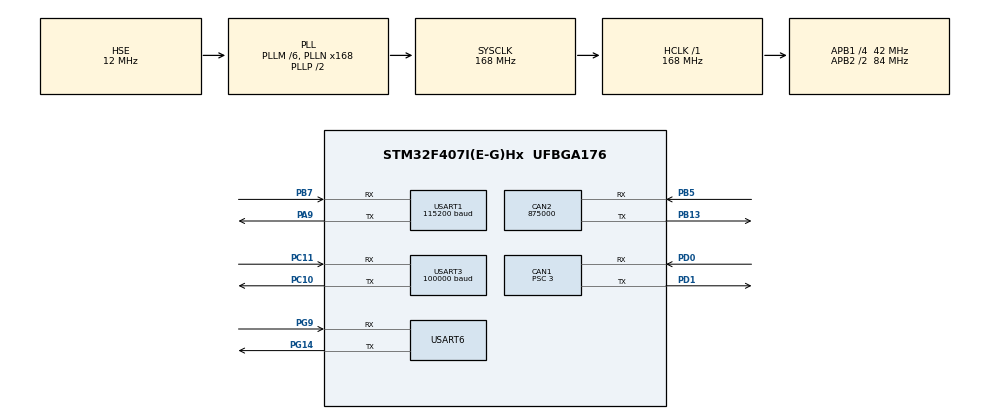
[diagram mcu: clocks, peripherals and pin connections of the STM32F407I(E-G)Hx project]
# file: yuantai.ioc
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CAN1.BS1=CAN_BS1_9TQ
CAN1.BS2=CAN_BS2_4TQ
CAN1.CalculateBaudRate=1000000
CAN1.CalculateTimeBit=1000
CAN1.CalculateTimeQuantum=71.42857142857143
CAN1.Prescaler=3
CAN2.CalculateBaudRate=875000
CAN2.CalculateTimeBit=1142
CAN2.CalculateTimeQuantum=380.95238095238096
Dma.Request0=USART3_RX
Dma.Request1=USART6_RX
Dma.Request2=USART3_TX
Dma.Request3=USART1_RX
Dma.Request4=USART1_TX
Dma.Request5=USART6_TX
Dma.USART1_RX.3.Direction=DMA_PERIPH_TO_MEMORY
Dma.USART1_RX.3.FIFOMode=DMA_FIFOMODE_DISABLE
Dma.USART1_RX.3.Instance=DMA2_Stream2
Dma.USART1_RX.3.MemDataAlignment=DMA_MDATAALIGN_BYTE
Dma.USART1_RX.3.MemInc=DMA_MINC_ENABLE
Dma.USART1_RX.3.Mode=DMA_NORMAL
Dma.USART1_RX.3.PeriphDataAlignment=DMA_PDATAALIGN_BYTE
Dma.USART1_RX.3.PeriphInc=DMA_PINC_DISABLE
Dma.USART1_RX.3.Priority=DMA_PRIORITY_LOW
Dma.USART1_TX.4.Direction=DMA_MEMORY_TO_PERIPH
Dma.USART1_TX.4.FIFOMode=DMA_FIFOMODE_DISABLE
Dma.USART1_TX.4.Instance=DMA2_Stream7
Dma.USART1_TX.4.MemDataAlignment=DMA_MDATAALIGN_BYTE
Dma.USART1_TX.4.MemInc=DMA_MINC_ENABLE
Dma.USART1_TX.4.Mode=DMA_NORMAL
Dma.USART1_TX.4.PeriphDataAlignment=DMA_PDATAALIGN_BYTE
Dma.USART1_TX.4.PeriphInc=DMA_PINC_DISABLE
Dma.USART1_TX.4.Priority=DMA_PRIORITY_LOW
Dma.USART3_RX.0.Direction=DMA_PERIPH_TO_MEMORY
Dma.USART3_RX.0.FIFOMode=DMA_FIFOMODE_DISABLE
Dma.USART3_RX.0.Instance=DMA1_Stream1
Dma.USART3_RX.0.MemDataAlignment=DMA_MDATAALIGN_BYTE
Dma.USART3_RX.0.MemInc=DMA_MINC_ENABLE
Dma.USART3_RX.0.Mode=DMA_NORMAL
Dma.USART3_RX.0.PeriphDataAlignment=DMA_PDATAALIGN_BYTE
Dma.USART3_RX.0.PeriphInc=DMA_PINC_DISABLE
Dma.USART3_RX.0.Priority=DMA_PRIORITY_LOW
Dma.USART3_TX.2.Direction=DMA_MEMORY_TO_PERIPH
Dma.USART3_TX.2.FIFOMode=DMA_FIFOMODE_DISABLE
Dma.USART3_TX.2.Instance=DMA1_Stream3
Dma.USART3_TX.2.MemDataAlignment=DMA_MDATAALIGN_BYTE
Dma.USART3_TX.2.MemInc=DMA_MINC_ENABLE
Dma.USART3_TX.2.Mode=DMA_NORMAL
Dma.USART3_TX.2.PeriphDataAlignment=DMA_PDATAALIGN_BYTE
Dma.USART3_TX.2.PeriphInc=DMA_PINC_DISABLE
Dma.USART3_TX.2.Priority=DMA_PRIORITY_LOW
Dma.USART6_RX.1.Direction=DMA_PERIPH_TO_MEMORY
Dma.USART6_RX.1.FIFOMode=DMA_FIFOMODE_DISABLE
Dma.USART6_RX.1.Instance=DMA2_Stream1
Dma.USART6_RX.1.MemDataAlignment=DMA_MDATAALIGN_BYTE
Dma.USART6_RX.1.MemInc=DMA_MINC_ENABLE
Dma.USART6_RX.1.Mode=DMA_NORMAL
Dma.USART6_RX.1.PeriphDataAlignment=DMA_PDATAALIGN_BYTE
Dma.USART6_RX.1.PeriphInc=DMA_PINC_DISABLE
Dma.USART6_RX.1.Priority=DMA_PRIORITY_LOW
Dma.USART6_TX.5.Direction=DMA_MEMORY_TO_PERIPH
Dma.USART6_TX.5.FIFOMode=DMA_FIFOMODE_DISABLE
Dma.USART6_TX.5.Instance=DMA2_Stream6
Dma.USART6_TX.5.MemDataAlignment=DMA_MDATAALIGN_BYTE
Dma.USART6_TX.5.MemInc=DMA_MINC_ENABLE
Dma.USART6_TX.5.Mode=DMA_NORMAL
Dma.USART6_TX.5.PeriphDataAlignment=DMA_PDATAALIGN_BYTE
Dma.USART6_TX.5.PeriphInc=DMA_PINC_DISABLE
Dma.USART6_TX.5.Priority=DMA_PRIORITY_LOW
FREERTOS.Tasks01=defaultTask,0,128,StartDefaultTask,Default,NULL,Dynamic,NULL,NULL
Mcu.Family=STM32F4
Mcu.Name=STM32F407I(E-G)Hx
Mcu.Package=UFBGA176
NVIC.CAN1_RX0_IRQn=true\:5\:0\:false\:false\:true\:true\:true\:true\:true
NVIC.CAN1_RX1_IRQn=true\:5\:0\:false\:false\:true\:true\:true\:true\:true
NVIC.CAN1_SCE_IRQn=true\:5\:0\:false\:false\:true\:true\:true\:true\:true
NVIC.DMA1_Stream1_IRQn=true\:5\:0\:false\:false\:true\:true\:false\:true\:true
NVIC.DMA1_Stream3_IRQn=true\:5\:0\:false\:false\:true\:true\:false\:true\:true
NVIC.DMA2_Stream1_IRQn=true\:5\:0\:false\:false\:true\:true\:false\:true\:true
NVIC.DMA2_Stream2_IRQn=true\:5\:0\:false\:false\:true\:true\:false\:true\:true
NVIC.DMA2_Stream6_IRQn=true\:5\:0\:false\:false\:true\:true\:false\:true\:true
NVIC.DMA2_Stream7_IRQn=true\:5\:0\:false\:false\:true\:true\:false\:true\:true
NVIC.PriorityGroup=NVIC_PRIORITYGROUP_4
NVIC.TIM3_IRQn=true\:5\:0\:false\:false\:true\:true\:true\:true\:true
NVIC.USART1_IRQn=true\:5\:0\:false\:false\:true\:true\:true\:true\:true
NVIC.USART3_IRQn=true\:5\:0\:false\:false\:true\:true\:true\:true\:true
NVIC.USART6_IRQn=true\:5\:0\:false\:false\:true\:true\:true\:true\:true
PA13.Mode=Serial_Wire
PA13.Signal=SYS_JTMS-SWDIO
PA14.Mode=Serial_Wire
PA14.Signal=SYS_JTCK-SWCLK
PA9.Mode=Asynchronous
PA9.Signal=USART1_TX
PB13.Mode=CAN_Activate
PB13.Signal=CAN2_TX
PB5.Mode=CAN_Activate
PB5.Signal=CAN2_RX
PB7.Mode=Asynchronous
PB7.Signal=USART1_RX
PC10.Mode=Asynchronous
PC10.Signal=USART3_TX
PC11.Mode=Asynchronous
PC11.Signal=USART3_RX
PD0.Mode=CAN_Activate
PD0.Signal=CAN1_RX
PD1.Mode=CAN_Activate
PD1.Signal=CAN1_TX
PG14.Mode=Asynchronous
PG14.Signal=USART6_TX
PG9.Mode=Asynchronous
PG9.Signal=USART6_RX
PH0-OSC_IN.Mode=HSE-External-Oscillator
PH0-OSC_IN.Signal=RCC_OSC_IN
PH1-OSC_OUT.Mode=HSE-External-Oscillator
PH1-OSC_OUT.Signal=RCC_OSC_OUT
ProjectManager.HeapSize=0x200
ProjectManager.StackSize=0x400
ProjectManager.TargetToolchain=MDK-ARM V5.32
RCC.48MHZClocksFreq_Value=84000000
RCC.AHBFreq_Value=168000000
RCC.APB1CLKDivider=RCC_HCLK_DIV4
RCC.APB1Freq_Value=42000000
RCC.APB1TimFreq_Value=84000000
RCC.APB2CLKDivider=RCC_HCLK_DIV2
RCC.APB2Freq_Value=84000000
RCC.APB2TimFreq_Value=168000000
RCC.CortexFreq_Value=168000000
RCC.HCLKFreq_Value=168000000
RCC.HSE_VALUE=12000000
RCC.HSI_VALUE=16000000
RCC.LSE_VALUE=32768
RCC.PLLM=6
RCC.PLLN=168
RCC.PLLSourceVirtual=RCC_PLLSOURCE_HSE
RCC.SYSCLKFreq_VALUE=168000000
RCC.SYSCLKSource=RCC_SYSCLKSOURCE_PLLCLK
RCC.VCOOutputFreq_Value=336000000
TIM3.Period=10-1
TIM3.Prescaler=8400-1
USART1.BaudRate=115200
USART1.Parity=PARITY_NONE
USART1.VirtualMode=VM_ASYNC
USART1.WordLength=WORDLENGTH_8B
USART3.BaudRate=100000
USART3.Parity=PARITY_EVEN
USART3.VirtualMode=VM_ASYNC
USART3.WordLength=WORDLENGTH_9B
USART6.VirtualMode=VM_ASYNC
VP_FREERTOS_VS_CMSIS_V1.Mode=CMSIS_V1
VP_TIM3_VS_ClockSourceINT.Mode=Internal
VP_TIM4_VS_ClockSourceINT.Mode=Internal
board=custom

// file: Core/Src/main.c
/* USER CODE BEGIN Header */
/**
  ******************************************************************************
  * @file           : main.c
  * @brief          : Main program body
  ******************************************************************************
  * @attention
  *
  * Copyright (c) 2026 STMicroelectronics.
  * All rights reserved.
  *
  * This software is licensed under terms that can be found in the LICENSE file
  * in the root directory of this software component.
  * If no LICENSE file comes with this software, it is provided AS-IS.
  *
  ******************************************************************************
  */
/* USER CODE END Header */
#include "main.h"
#include "cmsis_os.h"
#include "can.h"
#include "dma.h"
#include "tim.h"
#include "usart.h"
#include "gpio.h"

/* USER CODE BEGIN Includes */
#include "BSP/Motor/Dji/DjiMotor.hpp"
#include "Alg/PID/pid.hpp"
#include "../core/BSP/RemoteControl/yaokongqi.h"
#include "math.h"
#include "/BSP/IMU/HI12_imu.hpp"
/* USER CODE END Includes */

void SystemClock_Config(void);
//void MX_FREERTOS_Init(void);
/* USER CODE BEGIN PFP */
//BSP::Motor::DjiMotor::GM6020<2> gimbal_motor;
//BSP::Motor::DjiMotor<2> gimbal_motor;
// GM6020 反馈ID = 0x204 + 拨码值，拨码1→0x205，拨码2→0x206
BSP::Motor::Dji::GM6020<2> gimbal_motor{0x204, {1, 2}, 0x1FF};
BSP::IMU::HI12_float imu;
ALG::PID::PID pos_pid[2]={
	{30.0f, 0.03f, 0.0f, 5000.0f, 1000.0f, 100.0f},
	//43.0f, 0.03f, 0.005f, 5000.0f, 1000.0f, 100.0f
  {40.0f, 0.015f, 0.0f, 5000.0f, 1000.0f, 100.0f}
	//42.0f, 0.015f, 0.0f, 5000.0f, 1000.0f, 100.0f
};
ALG::PID::PID speed_pid[2] = {
    {7.0f, 0.016f, 0.0f, 10000.0f, 5000.0f, 500.0f},
		//4.0f, 0.016f, 0.012f, 10000.0f, 5000.0f, 500.0f
    {20.0f, 0.015f, 0.0f, 10000.0f, 5000.0f, 500.0f},
    //12.0f, 0.015f, 0.0f, 10000.0f, 5000.0f, 500.0f
};
void VisionSend(void);
CAN_RxHeaderTypeDef rxHeader0, rxHeader1;
float target_angle[2] = {0, 0};
float target_speed[2]={0,0};
int32_t pitch_raw=0,yaw_raw=0;
float yaw_increment=0;
float pitch_increment=0;
int16_t current[2]={0,0};
float current_angle[2]={0,0};
float yaw_vision = 0.0f;
float pitch_vision = 0.0f;
uint8_t imu_rx_buffer[82];
uint8_t txDataBuffer[8], rxDataBuffer0[8], rxDataBuffer1[8];
uint8_t send_str2[sizeof(float) * 8];
extern RC_Ctl_t data;
extern uint8_t receivedata[18];
extern uint32_t rc_last_recv_time;
extern uint8_t rc_disconnect_flag;
float w, x, y, z;
float rc_yaw=0,rc_pitch=0;
float a=0;
float time=0;
/* USER CODE END PFP */

/* USER CODE BEGIN 0 */
// 角度差过零归一化，将差值限制在 [-180, 180]
static inline float wrap_angle(float target, float current)
{
    float delta = target - current;
    delta -= 360.0f * floorf((delta + 180.0f) / 360.0f);
    return delta;
}

/** 两路电机均在线后采样一次编码器角，作为相对 0°（上电姿态） */
static float gimbal_angle_zero[2];
static uint8_t gimbal_angle_zero_latched;

/** 视觉接收缓冲：0x39 0x39 + pitch(int32大端) + yaw(int32大端) + 10字节其他 = 18字节 */
 uint8_t vision_rx_buf[18];
/** 视觉模式标志：1=视觉控制，0=遥控器控制 */
 uint8_t vision_mode = 0;
/** 帧头 0x39 0x39 + w,x,y,z（float，小端，与 STM32 一致），经 USART6 DMA 发出 */
 uint8_t vision_tx_buf[2u + 4u * sizeof(float)];
/** 1ms 节拍计数，每 VISION_SEND_PERIOD_MS 发一帧视觉串口 */
#define VISION_SEND_PERIOD_MS 40u
static uint8_t vision_send_1ms_cnt;
//void vofa_send(float x1, float x2, float x3, float x4, float x5, float x6)
//{
//
//    const uint8_t sendSize = sizeof(float); // 单浮点数占4字节

//    // 将6个浮点数据写入缓冲区（小端模式）
//    *((float*)&send_str2[sendSize * 0]) = x1;
//    *((float*)&send_str2[sendSize * 1]) = x2;
//    *((float*)&send_str2[sendSize * 2]) = x3;
//    *((float*)&send_str2[sendSize * 3]) = x4;
//    *((float*)&send_str2[sendSize * 4]) = x5;
//    *((float*)&send_str2[sendSize * 5]) = x6;

//    // 写入帧尾（协议要求 0x00 0x00 0x80 0x7F）
//    *((uint32_t*)&send_str2[sizeof(float) * 6]) = 0x7F800000; // 小端存储为 00 00 80 7F

//    // 通过DMA发送完整帧（6数据 + 1帧尾 = 7个float，共28字节）
//    HAL_UART_Transmit_DMA(&huart6, send_str2, sizeof(send_str2));
//}

void VisionSend(void)
{
    w = imu.GetQuaternion(0);
    x = imu.GetQuaternion(1);
    y = imu.GetQuaternion(2);
    z = imu.GetQuaternion(3);
    vision_tx_buf[0] = 0x39u;
    vision_tx_buf[1] = 0x39u;

    // 大端序写入：取 float 的字节逆序
    uint32_t tmp;
    memcpy(&tmp, &w, 4); tmp = __builtin_bswap32(tmp); memcpy(&vision_tx_buf[2],  &tmp, 4);
    memcpy(&tmp, &x, 4); tmp = __builtin_bswap32(tmp); memcpy(&vision_tx_buf[6],  &tmp, 4);
    memcpy(&tmp, &y, 4); tmp = __builtin_bswap32(tmp); memcpy(&vision_tx_buf[10], &tmp, 4);
    memcpy(&tmp, &z, 4); tmp = __builtin_bswap32(tmp); memcpy(&vision_tx_buf[14], &tmp, 4);

    /* 只检查 TX 是否忙，避免 RX 状态干扰 */
    HAL_UART_Transmit_DMA(&huart6, vision_tx_buf, (uint16_t)sizeof(vision_tx_buf));
}

// 接收缓冲区（HI12 数据帧较长）

// UART 接收回调
	//void HAL_UARTEx_RxEventCallback(UART_HandleTypeDef* huart, uint16_t Size)
void HAL_UARTEx_RxEventCallback(UART_HandleTypeDef* huart, uint16_t Size)
{
      if (huart == &huart3)
    {
//
         rc_last_recv_time = HAL_GetTick();
        rc_disconnect_flag = 0;
        remoteDataProcess(receivedata);
        HAL_UARTEx_ReceiveToIdle_DMA(&huart3,(uint8_t *)receivedata, 18);
	}
    else if (huart == &huart1)  // 假设 IMU 接在 UART3
    {
        // 更新 IMU 数据
        imu.DataUpdate(imu_rx_buffer);

        // 继续接收
        HAL_UARTEx_ReceiveToIdle_DMA(&huart1, imu_rx_buffer, 82);
    }else if(huart == &huart6)
    {
        // 仅视觉模式下处理数据
        if (vision_mode && Size == 18 && vision_rx_buf[0] == 0x39 && vision_rx_buf[1] == 0x39)
        {
             pitch_raw = (int32_t)((uint32_t)vision_rx_buf[2] << 24 |
                                          (uint32_t)vision_rx_buf[3] << 16 |
                                          (uint32_t)vision_rx_buf[4] << 8  |
                                          (uint32_t)vision_rx_buf[5]);
             yaw_raw   = (int32_t)((uint32_t)vision_rx_buf[6] << 24 |
                                          (uint32_t)vision_rx_buf[7] << 16 |
                                          (uint32_t)vision_rx_buf[8] << 8  |
                                          (uint32_t)vision_rx_buf[9]);
          target_angle[0] = yaw_raw* 0.01f;
					if(target_angle[0] > 90.0f) target_angle[0] = 90.0f;
          if(target_angle[0] < -90.0f) target_angle[0] = -90.0f;
            target_angle[1] =  pitch_raw* 0.01f;
            if(target_angle[1] > 35.0f) target_angle[1] = 35.0f;
          if(target_angle[1] < -15.0f) target_angle[1] = -15.0f;
//					target_angle[0] = current_angle[0] + yaw_raw* 0.01f;
//            target_angle[1] = current_angle[1] + pitch_raw* 0.01f;
        }
        HAL_UARTEx_ReceiveToIdle_DMA(&huart6, vision_rx_buf, sizeof(vision_rx_buf));
    }
	}

// UART 接收回调

void CAN1_RxCallback(HAL::CAN::Frame& frame)
{
    // frame.id ���� CAN ֡�� ID
    // 3508 ����� ID ��Χ�� 0x201-0x208

    // GM6020 拨码1→0x205，拨码2→0x206
    if (frame.id >= 0x205 && frame.id <= 0x206)
    {
        // ������̨��������ݣ�6020��
        gimbal_motor.Parse(frame);
    }
}

void HAL_CAN_RxFifo0MsgPendingCallback(CAN_HandleTypeDef *hcan)
{
    HAL::CAN::Frame frame;
    if (HAL::CAN::get_can_bus_instance().get_can1().receive(frame))
    {
        CAN1_RxCallback(frame);
    }
}

void HAL_TIM_PeriodElapsedCallback(TIM_HandleTypeDef *htim)  // 1ms
{
    if (htim == &htim3) {
			time=HAL_GetTick();
			a=imu.GetAngle(2);
			gimbal_motor.refreshConnectionStatus();
			if (++vision_send_1ms_cnt >= VISION_SEND_PERIOD_MS)
			{
				vision_send_1ms_cnt = 0;
				VisionSend();
			}

			// s1==2（拨下）进视觉模式，其他为遥控器模式
        vision_mode = (data.rc.s1 == 2) ? 1 : 0;
        uint8_t rc_connected = (HAL_GetTick() - rc_last_recv_time <= 500);

        if (!vision_mode && rc_connected)
        {
            // 遥控器模式：摇杆控制增量
            rc_yaw = data.rc.ch0-1024.0f;
            if (abs((int)rc_yaw) > 100) yaw_increment += rc_yaw / 660.0f;
            if (yaw_increment >  45.0f) yaw_increment =  45.0f;
            if (yaw_increment < -45.0f) yaw_increment = -45.0f;
            target_angle[0] = yaw_increment;

            rc_pitch = data.rc.ch1-1024.0f;
            if (abs((int)rc_pitch) > 100) pitch_increment += rc_pitch / 660.0f;
            if (pitch_increment >  -15.0f) pitch_increment =  -15.0f;
            if (pitch_increment < -60.0f) pitch_increment = -60.0f;
            target_angle[1] = pitch_increment;
        }else if (!rc_connected && !vision_mode)
				{
    // 遥控器断连时重置增量和目标角度
					yaw_increment = 0;
					pitch_increment = 0;
					target_angle[0] = 0;
					target_angle[1] = 0;
				}
        // 视觉模式下 target_angle 由 UART6 回调写入，此处不覆盖
        if (vision_mode)
        {
            yaw_vision = imu.GetAngle(2);
            pitch_vision =imu.GetAngle(1);
        }

        for (int j = 0; j < 2; j++)
        {
            float r = gimbal_motor.getAngleDeg(j + 1);
            if (r > 180.0f) r -= 360.0f;
            gimbal_angle_zero[j] = r;
        }

    for (int i = 0; i < 2; i++)
    {
        float raw = gimbal_motor.getAngleDeg(i + 1);
        if (raw > 180.0f) raw -= 360.0f;
        if (vision_mode)
        {
            if (i == 0)
                current_angle[0] = yaw_vision;
            else
                current_angle[1] = pitch_vision;
        }
        else if (gimbal_angle_zero_latched)
        {
            current_angle[i] = wrap_angle(raw, gimbal_angle_zero[i]);
        }
        else
        {
            current_angle[i] = raw;
        }

        float current_speed = gimbal_motor.getVelocityRpm(i + 1);

        // PID 控制
        float angle_error = wrap_angle(target_angle[i], current_angle[i]);
        target_speed[i] = pos_pid[i].UpDate(target_angle[i]+angle_error, current_angle[i]);
        float output = speed_pid[i].UpDate(target_speed[i], current_speed);

        // 限幅
        if (output > 10000) output = 10000;
        if (output < -10000) output = -10000;
			if (!vision_mode)
				{
				current[i] = (int16_t)output;
				}else if(vision_mode){
					current[i] =(int16_t)output;
        }
			}
    // ���Ϳ���ָ��
		if (!rc_connected && !vision_mode)
				{
    // 遥控器断连时重置增量和目标角度
		gimbal_motor.setCAN(0,1);
		gimbal_motor.setCAN(0,2);
				}else{
    gimbal_motor.setCAN(current[0],1);
		gimbal_motor.setCAN(current[1],2);
    gimbal_motor.sendCAN();
		//vofa_send(current_angle[0],current_angle[1],target_angle[0],target_angle[1],0,0);
				}

			}
		}
/* USER CODE END 0 */

int main(void)
{

  /* MCU Configuration--------------------------------------------------------*/

  /* Reset of all peripherals, Initializes the Flash interface and the Systick. */
  HAL_Init();

  /* Configure the system clock */
  SystemClock_Config();

  /* Initialize all configured peripherals */
  MX_GPIO_Init();
  MX_DMA_Init();
  MX_CAN1_Init();
  MX_TIM3_Init();
  MX_TIM4_Init();
  MX_USART1_UART_Init();
  MX_USART3_UART_Init();
  MX_USART6_UART_Init();
  MX_CAN2_Init();
  /* USER CODE BEGIN 2 */
HAL::CAN::get_can_bus_instance(); // 触发 CAN bus 初始化：HAL_CAN_Start + 激活中断通知
HAL_TIM_Base_Start_IT(&htim3);
HAL_UARTEx_ReceiveToIdle_DMA(&huart3, (uint8_t *)receivedata, sizeof(receivedata));
HAL_UARTEx_ReceiveToIdle_DMA(&huart1, (uint8_t *)imu_rx_buffer,82);
HAL_UARTEx_ReceiveToIdle_DMA(&huart6, vision_rx_buf, sizeof(vision_rx_buf));
//HAL_UART_Receive_DMA(&huart1, imu_rx_buffer, 64);  // 假设 IMU 数据长度为 64 字节
rc_last_recv_time = HAL_GetTick();
 rc_disconnect_flag = 0;

  /* USER CODE END 2 */

  /* Call init function for freertos objects (in cmsis_os2.c) */
  //MX_FREERTOS_Init();

  /* Start scheduler */
  osKernelStart();

  /* We should never get here as control is now taken by the scheduler */

  /* Infinite loop */
  while (1)
  {

  }
}

void SystemClock_Config(void)
{
  RCC_OscInitTypeDef RCC_OscInitStruct = {0};
  RCC_ClkInitTypeDef RCC_ClkInitStruct = {0};

  /** Configure the main internal regulator output voltage
  */
  __HAL_RCC_PWR_CLK_ENABLE();
  __HAL_PWR_VOLTAGESCALING_CONFIG(PWR_REGULATOR_VOLTAGE_SCALE1);

  /** Initializes the RCC Oscillators according to the specified parameters
  * in the RCC_OscInitTypeDef structure.
  */
  RCC_OscInitStruct.OscillatorType = RCC_OSCILLATORTYPE_HSE;
  RCC_OscInitStruct.HSEState = RCC_HSE_ON;
  RCC_OscInitStruct.PLL.PLLState = RCC_PLL_ON;
  RCC_OscInitStruct.PLL.PLLSource = RCC_PLLSOURCE_HSE;
  RCC_OscInitStruct.PLL.PLLM = 6;
  RCC_OscInitStruct.PLL.PLLN = 168;
  RCC_OscInitStruct.PLL.PLLP = RCC_PLLP_DIV2;
  RCC_OscInitStruct.PLL.PLLQ = 4;
  if (HAL_RCC_OscConfig(&RCC_OscInitStruct) != HAL_OK)
  {
    Error_Handler();
  }

  /** Initializes the CPU, AHB and APB buses clocks
  */
  RCC_ClkInitStruct.ClockType = RCC_CLOCKTYPE_HCLK|RCC_CLOCKTYPE_SYSCLK
                              |RCC_CLOCKTYPE_PCLK1|RCC_CLOCKTYPE_PCLK2;
  RCC_ClkInitStruct.SYSCLKSource = RCC_SYSCLKSOURCE_PLLCLK;
  RCC_ClkInitStruct.AHBCLKDivider = RCC_SYSCLK_DIV1;
  RCC_ClkInitStruct.APB1CLKDivider = RCC_HCLK_DIV4;
  RCC_ClkInitStruct.APB2CLKDivider = RCC_HCLK_DIV2;

  if (HAL_RCC_ClockConfig(&RCC_ClkInitStruct, FLASH_LATENCY_5) != HAL_OK)
  {
    Error_Handler();
  }
}

void Error_Handler(void)
{
  __disable_irq();
  while (1)
  {
  }
}
